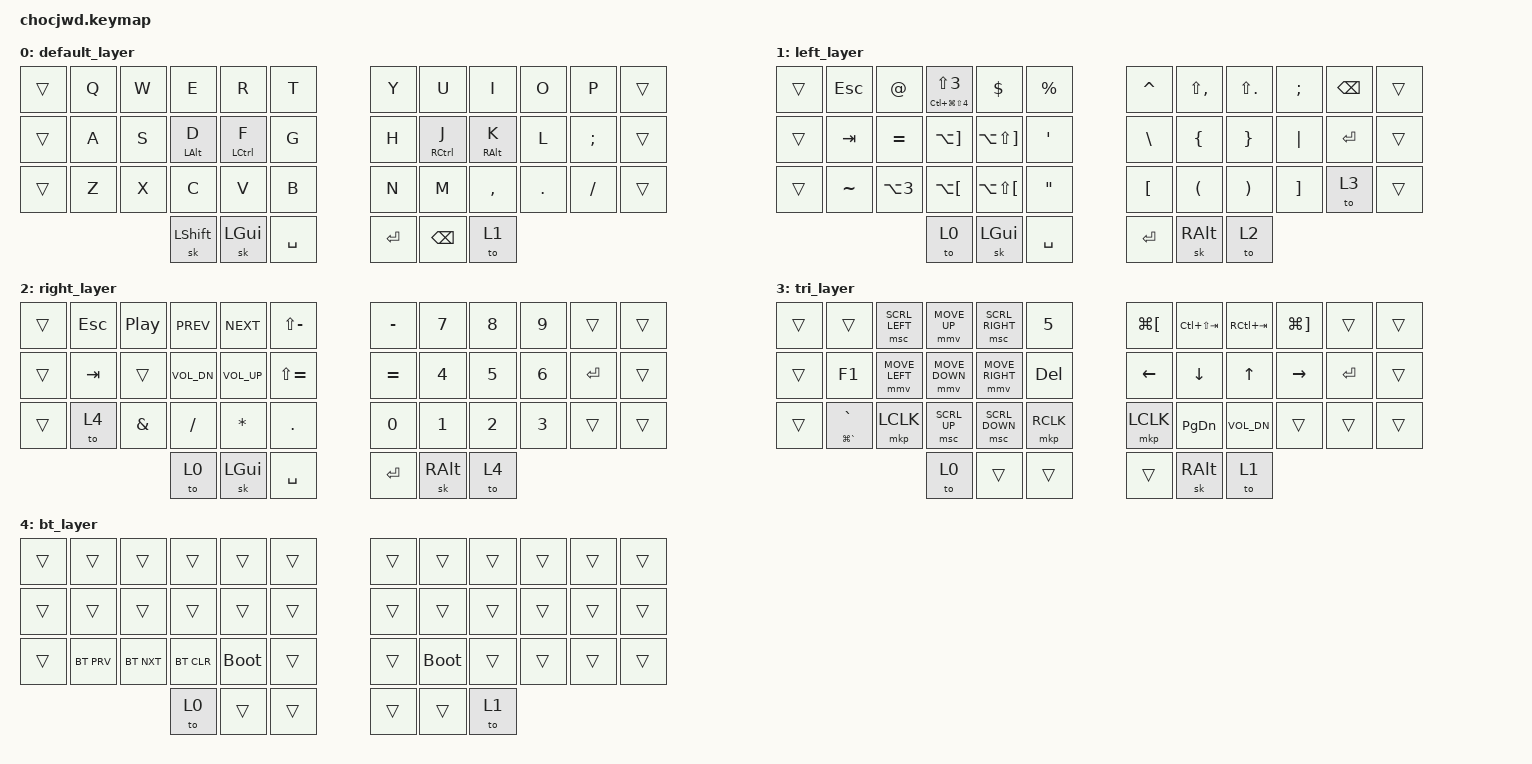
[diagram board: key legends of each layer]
// 
// / {
//         keymap {
//                 compatible = "zmk,keymap";
// 
//                 default_layer {
// // -----------------------------------------------------------------------------------------
// // |  TAB |  Q  |  W  |  E  |  R  |  T  |   |  Y  |  U   |  I  |  O  |  P  | BSPC |
// // | CTRL |  A  |  S  |  D  |  F  |  G  |   |  H  |  J   |  K  |  L  |  ;  |  '   |
// // | SHFT |  Z  |  X  |  C  |  V  |  B  |   |  N  |  M   |  ,  |  .  |  /  | ESC  |
// //                    | GUI | LWR | SPC |   | ENT | RSE  | ALT |
//                         bindings = <
//    &kp TAB   &kp Q &msc SCRL_LEFT    &mmv MOVE_UP    &msc SCRL_RIGHT &kp T   &kp Y &kp U  &kp I     &kp O   &kp P    &kp BSPC
//    &kp LCTRL &kp A &mmv MOVE_LEFT &mmv MOVE_DOWN &mmv MOVE_RIGHT &kp G   &kp H &kp J  &kp K     &kp L   &kp SEMI &kp SQT
//    &kp LSHFT &kp Z &mkp LCLK  &msc SCRL_UP &msc SCRL_DOWN &mkp RCLK   &kp N &kp M  &kp COMMA &kp DOT &kp FSLH &kp ESC
//                   &kp LGUI &mo 1 &kp SPACE   &kp RET &mo 2 &kp RALT
//                         >;
//                 };
//                 lower_layer {
// // -----------------------------------------------------------------------------------------
// // |  TAB |  1  |  2  |  3  |  4  |  5  |   |  6  |  7  |  8  |  9  |  0  | BSPC |
// // | BTCLR| BT1 | BT2 | BT3 | BT4 | BT5 |   | LFT | DWN |  UP | RGT |     |      |
// // | SHFT |     |     |     |     |     |   |     |     |     |     |     |      |
// //                    | GUI |     | SPC |   | ENT |     | ALT |
//                         bindings = <
//    &kp TAB    &kp TAB       &kp N2       &kp N3       &kp N4       &kp N5         &kp N6   &kp N7   &kp N8 &kp N9    &kp N0 &kp BSPC
//    &bt BT_CLR &bt BT_SEL 0 &bt BT_SEL 1 &bt BT_SEL 2 &bt BT_SEL 3 &bt BT_SEL 4   &kp LEFT &kp DOWN &kp UP &kp RIGHT &trans &trans
//    &kp LSHFT  &kp LSHFT       &bt BT_CLR       &trans       &trans       &trans         &trans   &trans   &trans &trans    &trans &trans
//                                     &kp LGUI     &trans       &kp SPACE      &kp RET  &trans   &kp RALT
//                         >;
//                 };
// 
//                 raise_layer {
// // -----------------------------------------------------------------------------------------
// // |  TAB |  !  |  @  |  #  |  $  |  %  |   |  ^  |  &  |  *  |  (  |  )  | BSPC |
// // | CTRL |     |     |     |     |     |   |  -  |  =  |  [  |  ]  |  \  |  `   |
// // | SHFT |     |     |     |     |     |   |  _  |  +  |  {  |  }  | "|" |  ~   |
// //                    | GUI |     | SPC |   | ENT |     | ALT |
//                         bindings = <
//    &kp  TAB  &kp EXCL &kp AT &kp HASH &kp DLLR &kp PRCNT   &kp CARET &kp AMPS  &kp ASTRK &kp LPAR &kp RPAR &kp BSPC
//    &kp LCTRL &trans   &trans &trans   &trans   &trans      &kp MINUS &kp EQUAL &kp LBKT  &kp RBKT &kp BSLH &kp GRAVE
//    &kp LSHFT &trans   &trans &trans   &trans   &trans      &kp UNDER &kp PLUS  &kp LBRC  &kp RBRC &kp PIPE &kp TILDE
//                              &kp LGUI &trans   &kp SPACE   &kp RET   &trans    &kp RALT
//                         >;
//                 };
//         };
// };


/*
 * Copyright (c) 2020 The ZMK Contributors
 *
 * SPDX-License-Identifier: MIT
 */

#include <behaviors.dtsi>
#include <dt-bindings/zmk/keys.h>
#include <dt-bindings/zmk/bt.h>
#include <dt-bindings/zmk/pointing.h>


#define ZMK_POINTING_DEFAULT_MOVE_VAL 2000  // default: 600
#define ZMK_POINTING_DEFAULT_SCRL_VAL 20 

&mt {
    flavor = "tap-preferred";
    tapping_term_ms = <200>;
};

// &mmv {
//    time-to-max-speed-ms = <680>;
//    acceleration-exponent=<2>;
// };
/ { 

	kscan: kscan {
        compatible = "zmk,kscan-gpio-matrix";
        diode-direction = "col2row";
        wakeup-source;
    };


    behaviors {
        hm: homerow_mods {
            compatible = "zmk,behavior-hold-tap";
            label = "HOMEROW_MODS";
            #binding-cells = <2>;
            tapping-term-ms = <200>;
            quick_tap_ms = <0>;
            flavor = "tap-preferred";
            bindings = <&kp>, <&kp>;
        };
	td: tapdance {
            compatible = "zmk,behavior-hold-tap";
            label = "TAPDANCE";
            #binding-cells = <2>;
            tapping-term-ms = <150>;
            quick_tap_ms = <0>;
            flavor = "tap-preferred";
            bindings = <&kp>, <&kp>;
        };
    };

        keymap {
                compatible = "zmk,keymap";
                
       		default_layer {
                // -----------------------------------------------------------------------------------------
                // | Trans |  Q  |  W  |  E  |  R  |  T  |   |  Y  |  U   |  I  |  O  |  P  | Trans |
                // | Trans |  A  |  S  |  D  |  F  |  G  |   |  H  |  J   |  K  |  L  |  ;  | Trans |
                // | Trans |  Z  |  X  |  C  |  V  |  B  |   |  N  |  M   |  ,  |  .  |  /  | Trans |
                //                    | GUI | LWR | SPC |   | ENT | RSE  | ALT |
		bindings = <
		&trans    &kp Q    &kp W    &kp E         &kp R         &kp T 				&kp Y    &kp U         &kp I         &kp O      &kp P       &trans
		&trans    &kp A    &kp S    &hm LALT D    &hm LCTRL F    &kp G 			       	&kp H    &hm RCTRL J    &hm RALT K    &kp L      &kp SEMI    &trans
		&trans    &kp Z    &kp X    &kp C         &kp V         &kp B				&kp N    &kp M         &kp COMMA     &kp DOT    &kp FSLH    &trans
          			         &sk LSHIFT    &sk LGUI    &kp SPACE                           &kp RET  &kp BACKSPACE    &to 1
		>;
		};

       		left_layer {
                // -----------------------------------------------------------------------------------------
                // | Trans |  ESC  |  @  |  E  |  R  |  T  |   |  Y  |  U   |  I  |  O  |  P  | Trans |
                // | Trans |  TAB  |  =  |  D  |  F  |  G  |   |  H  |  J   |  K  |  L  |  ;  | Trans |
                // | Trans |   ~   |  X  |  C  |  V  |  B  |   |  N  |  M   |  ,  |  .  |  /  | Trans |
                //                    | GUI | LWR | SPC |   | ENT | RSE  | ALT |
		bindings = <
		&trans    &kp ESC      &kp AT        &td LC(LG(LS(N4))) LS(N3)    &kp DLLR            &kp PRCNT		                &kp CARET    &kp LS(COMMA)    &kp LS(DOT)    &kp SEMI    &kp BKSP    &trans
		&trans    &kp TAB      &kp EQUAL     &kp LA(RBKT)                 &kp LA(LS(RBKT))    &kp SQT 		                &kp BSLH     &kp LBRC         &kp RBRC       &kp PIPE    &kp ENTER   &trans
		&trans    &kp TILDE    &kp LA(N3)    &kp LA(LBKT)                 &kp LA(LS(LBKT))    &kp DQT                           &kp LBKT     &kp LPRN         &kp RPRN       &kp RBKT    &to 3       &trans
					                                        &to 0    &sk LGUI    &kp SPACE                           &kp RET    &sk RALT    &to 2 
		>;
		};

		right_layer {
		bindings = <
		&trans    &kp ESC    &kp C_PP    &kp C_PREV      &kp C_NEXT      &kp LS(MINUS)    		                        &kp MINUS    &kp N7    &kp N8    &kp N9    &trans       &trans 
		&trans    &kp TAB    &trans      &kp C_VOL_DN    &kp C_VOL_UP    &kp LS(EQUAL) 			                        &kp EQUAL    &kp N4    &kp N5    &kp N6    &kp ENTER    &trans 
		&trans    &to 4      &kp AMPS    &kp SLASH       &kp STAR        &kp DOT    			                        &kp N0       &kp N1    &kp N2    &kp N3    &trans       &trans 
					                        &to 0    &sk LGUI    &kp SPACE                                          &kp RET	   &sk RALT    &to 4 
		>;
		};
							 
		tri_layer {
		bindings = <
		&trans    &trans                 &msc SCRL_LEFT    &mmv MOVE_UP      &msc SCRL_RIGHT    &kp NUM_5 			&kp LG(LBKT)   &kp LC(LS(TAB))   &kp RC(TAB) &kp LG(RBKT) &trans &trans
		&trans    &kp F1                 &mmv MOVE_LEFT    &mmv MOVE_DOWN    &mmv MOVE_RIGHT    &kp DEL  						&kp LEFT &kp DOWN  &kp UP &kp RIGHT &kp ENTER  &trans
		&trans    &td LG(GRAVE) GRAVE    &mkp LCLK         &msc SCRL_UP      &msc SCRL_DOWN     &mkp RCLK   				&mkp LCLK &kp PG_DN  &kp K_VOL_DN  &trans &trans    &trans
					 &to 0 &trans &trans  					&trans &sk RALT &to 1 
		>;
		};

		bt_layer {
		bindings = <
		&trans    &trans                 &trans    &trans      &trans    &trans 			&trans   &trans   &trans &trans &trans &trans
		&trans    &trans                 &trans    &trans    &trans    &trans  						&trans &trans  &trans &trans &trans  &trans
		&trans    &bt BT_PRV    &bt BT_NXT         &bt BT_CLR      &bootloader     &trans   				&trans &bootloader  &trans  &trans &trans    &trans
					 &to 0 &trans &trans  					&trans &trans &to 1 
		>;
		};	
        
	};
};


// &trans    &kp Y    &kp C    &kp L    &kp M    &kp K 						&kp Z &kp F  &kp U    &td MINUS COMMA  &kp BKSP  &trans
// 		&trans    &kp I    &kp S    &hm LALT R &hm LGUI T    &kp G 			       	&kp P &hm RGUI N &hm RALT E &kp A &kp O &trans
// 		&trans    &kp Q    &kp V    &kp W    &kp D    &kp J				        &kp B &kp H  &td UNDERSCORE SLASH &td EXCL DOT &kp X &trans
//           				&mt LC(LS(LALT)) SPC &sk LSHIFT  				&sk RCTRL &to 1




//left_layer {
//		bindings = <
//		&kp ESC  &kp ATSN   &td LC(LG(LS(N4))) LS(N3) &kp DLLR    &kp PRCNT		&kp CARET &kp LS(COMMA) &kp LS(DOT) &kp SEMI &kp BKSP 
//		&kp TAB    &kp EQUAL    &kp LA(RBKT)      &kp LA(LS(RBKT))     &kp SQT 		&kp BSLH &kp LBRC  &kp RBRC &kp PIPE  &kp ENTER
//		&kp TILDE    &kp LA(N3) 	&kp LA(LBKT) &kp LA(LS(LBKT))  &kp DQT 	&kp LBKT &kp LPRN &kp RPRN &kp RBKT  &to 3 
//					    &to 0  &sk LSHIFT  					&sk RALT &to 2 
//		>;
//		};
